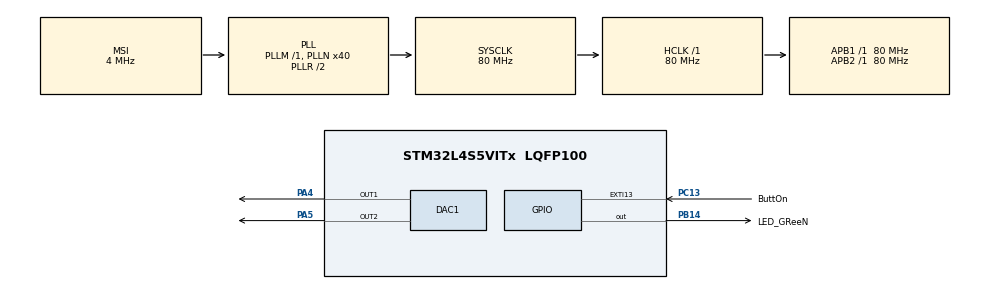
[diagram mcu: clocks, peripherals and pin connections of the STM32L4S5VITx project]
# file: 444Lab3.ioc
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DAC1.DAC_Channel-DAC_OUT2=DAC_CHANNEL_2
DAC1.DAC_Trigger-DAC_OUT1=DAC_TRIGGER_T2_TRGO
Dma.DAC1_CH1.0.Direction=DMA_MEMORY_TO_PERIPH
Dma.DAC1_CH1.0.EventEnable=DISABLE
Dma.DAC1_CH1.0.Instance=DMA1_Channel1
Dma.DAC1_CH1.0.MemDataAlignment=DMA_MDATAALIGN_HALFWORD
Dma.DAC1_CH1.0.MemInc=DMA_MINC_ENABLE
Dma.DAC1_CH1.0.Mode=DMA_CIRCULAR
Dma.DAC1_CH1.0.PeriphDataAlignment=DMA_PDATAALIGN_HALFWORD
Dma.DAC1_CH1.0.PeriphInc=DMA_PINC_DISABLE
Dma.DAC1_CH1.0.Polarity=HAL_DMAMUX_REQUEST_GEN_RISING
Dma.DAC1_CH1.0.Priority=DMA_PRIORITY_LOW
Dma.DAC1_CH1.0.RequestNumber=1
Dma.DAC1_CH1.0.SignalID=NONE
Dma.DAC1_CH1.0.SyncEnable=DISABLE
Dma.DAC1_CH1.0.SyncPolarity=HAL_DMAMUX_SYNC_NO_EVENT
Dma.DAC1_CH1.0.SyncRequestNumber=1
Dma.DAC1_CH1.0.SyncSignalID=NONE
Dma.Request0=DAC1_CH1
Mcu.Family=STM32L4
Mcu.Name=STM32L4S5VITx
Mcu.Package=LQFP100
NVIC.DMA1_Channel1_IRQn=true\:0\:0\:false\:false\:true\:false\:true
NVIC.EXTI15_10_IRQn=true\:0\:0\:false\:true\:true\:2\:true\:true
NVIC.PriorityGroup=NVIC_PRIORITYGROUP_4
NVIC.TIM2_IRQn=true\:0\:0\:false\:true\:true\:1\:true\:true
PA13\ (JTMS/SWDIO).Mode=Serial_Wire
PA13\ (JTMS/SWDIO).Signal=SYS_JTMS-SWDIO
PA14\ (JTCK/SWCLK).Mode=Serial_Wire
PA14\ (JTCK/SWCLK).Signal=SYS_JTCK-SWCLK
PA4.Signal=COMP_DAC11_group
PA5.Signal=COMP_DAC12_group
PB14.GPIO_Label=LED_GReeN
PB14.Signal=GPIO_Output
PC13.GPIO_Label=ButtOn
PC13.Signal=GPXTI13
ProjectManager.HeapSize=0x200
ProjectManager.StackSize=0x400
ProjectManager.TargetToolchain=STM32CubeIDE
RCC.ADCFreq_Value=16000000
RCC.AHBFreq_Value=80000000
RCC.APB1Freq_Value=80000000
RCC.APB1TimFreq_Value=80000000
RCC.APB2Freq_Value=80000000
RCC.APB2TimFreq_Value=80000000
RCC.CortexFreq_Value=80000000
RCC.HCLKFreq_Value=80000000
RCC.HSE_VALUE=8000000
RCC.HSI48_VALUE=48000000
RCC.HSI_VALUE=16000000
RCC.LSE_VALUE=32768
RCC.MSI_VALUE=4000000
RCC.PLLN=40
RCC.SYSCLKFreq_VALUE=80000000
RCC.SYSCLKSource=RCC_SYSCLKSOURCE_PLLCLK
RCC.USBFreq_Value=16000000
RCC.VCOOutputFreq_Value=160000000
SH.COMP_DAC11_group.0=DAC1_OUT1,DAC_OUT1
SH.COMP_DAC12_group.0=DAC1_OUT2,DAC_OUT2
TIM2.ClockDivision=TIM_CLOCKDIVISION_DIV1
TIM2.Period=1814
TIM2.TIM_MasterOutputTrigger=TIM_TRGO_UPDATE
VP_TIM2_VS_ClockSourceINT.Mode=Internal
board=custom

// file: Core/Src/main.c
/* USER CODE BEGIN Header */
/**
  ******************************************************************************
  * @file           : main.c
  * @brief          : Main program body
  ******************************************************************************
  * @attention
  *
  * <h2><center>&copy; Copyright (c) 2021 STMicroelectronics.
  * All rights reserved.</center></h2>
  *
  * This software component is licensed by ST under BSD 3-Clause license,
  * the "License"; You may not use this file except in compliance with the
  * License. You may obtain a copy of the License at:
  *                        opensource.org/licenses/BSD-3-Clause
  *
  ******************************************************************************
  */
/* USER CODE END Header */
#include "main.h"

/* USER CODE BEGIN Includes */
#define ARM_MATH_CM4
#define pi 3.14159265358979323846
#include "arm_math.h"

int signalSelection = 0;
int partNum = 3; //Chooses if you want to see part 1, 2, or 3

#define C6size 42 //Should be 43
#define E6size 32 //Should be 33
#define G6size 28 //Should be 28

uint16_t C6tone[C6size];
uint16_t E6tone[E6size];
uint16_t G6tone[G6size];

uint16_t buffer[672];
int bufferFlag = 0;

int C6index = 0;
int E6index = 0;
int G6index = 0;

uint16_t C6signal;
uint16_t E6signal;
uint16_t G6signal;

/* USER CODE END Includes */

DAC_HandleTypeDef hdac1;
DMA_HandleTypeDef hdma_dac1_ch1;

TIM_HandleTypeDef htim2;

/* USER CODE BEGIN PV */
DAC_ChannelConfTypeDef sConfigGlobal; //For self-calibration

/* USER CODE END PV */

void SystemClock_Config(void);
static void MX_GPIO_Init(void);
static void MX_DMA_Init(void);
static void MX_DAC1_Init(void);
static void MX_TIM2_Init(void);
static void MX_NVIC_Init(void);

/* USER CODE BEGIN 0 */

/*
 *
 * DEFINE INTERRUPT HANDLERS
 *
 */

//GPIO Button
void HAL_GPIO_EXTI_Callback(uint16_t GPIO_Pin) {
	if (GPIO_Pin == ButtOn_Pin) {

		HAL_GPIO_TogglePin(LED_GReeN_GPIO_Port, LED_GReeN_Pin);

		signalSelection = (signalSelection + 1)%3;

		bufferFlag = 1;
	}
}

//Timer 2
void HAL_TIM_PeriodElapsedCallback(TIM_HandleTypeDef *htim) {
	if (htim == &htim2 && partNum == 2) {

		//Increment everything
		C6index = (C6index + 1)%C6size;
		E6index = (E6index + 1)%E6size;
		G6index = (G6index + 1)%G6size;

		C6signal = C6tone[C6index];
		E6signal = E6tone[E6index];
		G6signal = G6tone[G6index];

		switch (signalSelection) {

			case 0:
				HAL_DAC_SetValue(&hdac1, DAC_CHANNEL_1, DAC_ALIGN_12B_R, C6tone[C6index]);
				break;
			case 1:
				HAL_DAC_SetValue(&hdac1, DAC_CHANNEL_1, DAC_ALIGN_12B_R, E6tone[E6index]);
				break;
			case 2:
				HAL_DAC_SetValue(&hdac1, DAC_CHANNEL_1, DAC_ALIGN_12B_R, G6tone[G6index]);
				break;
		}
	}
}

//DMA Complete
void HAL_DAC_ConvCpltCallbackCh1(DAC_HandleTypeDef *hdac) {
	if (bufferFlag) {

		switch (signalSelection) {

			case 0:
				for (int i = 0; i < 672; i++) {
					buffer[i] = C6tone[i%C6size];
				}
				break;
			case 1:
				for (int i = 0; i < 672; i++) {
					buffer[i] = E6tone[i%E6size];
				}
				break;
			case 2:
				for (int i = 0; i < 672; i++) {
					buffer[i] = G6tone[i%G6size];
				}
				break;

		}

		bufferFlag = 0;
	}

}

/* USER CODE END 0 */

int main(void)
{

  /* MCU Configuration--------------------------------------------------------*/

  /* Reset of all peripherals, Initializes the Flash interface and the Systick. */
  HAL_Init();

  /* Configure the system clock */
  SystemClock_Config();

  /* Initialize all configured peripherals */
  MX_GPIO_Init();
  MX_DMA_Init();
  MX_DAC1_Init();
  MX_TIM2_Init();

  /* Initialize interrupts */
  MX_NVIC_Init();
  /* USER CODE BEGIN 2 */

  /*
   *
   * CHANNEL CALIBRATION
   *
   */

  HAL_DACEx_SelfCalibrate(&hdac1, &sConfigGlobal, DAC_CHANNEL_1);
  HAL_DACEx_SelfCalibrate(&hdac1, &sConfigGlobal, DAC_CHANNEL_2);

  /*
   *
   * INITIALIZATION
   *
   */

  //Manual signals
  uint32_t saw = 0; //Starting position for saw signal
  uint32_t triangle = 0; //Starting position for triangle signal
  int32_t incrementSaw = 7; //For the saw and triangle signals to have same frequency, use 7 and 15 as increments and only go up to a maximum of 105
  int32_t incrementTriangle = 15;
  uint32_t sawSignal; //Scaled signal to send to DAC
  uint32_t triangleSignal; //Scaled signal to send to DAC
  float32_t sineSignal = 0; //Scaled signal to send to DAC
  int sineIndex = 0; //Keep track/increment the index through the sineValues array to generate the signal
  int channel = 2; // Selects DAC channel

  //Timer interrupts/DAC
  if (partNum == 2) HAL_DAC_Start(&hdac1, DAC_CHANNEL_1);
  if (partNum == 1) HAL_DAC_Start(&hdac1, DAC_CHANNEL_2);
  if (partNum == 2 || partNum == 3) HAL_TIM_Base_Start_IT(&htim2); //Start the timer in interrupt mode

  /*
   *
   * SINE WAVE ARRAY GENERATION
   *
   * Calculate the x values inputted into the sine wave generation
   * This prevents choppy sine waves due to long float calculation speeds
   *
   */

  float32_t sineValues[15];
  for (int i = 0; i < 15; i++) {
	  sineValues[i] = (arm_sin_f32(2*pi*i/15)+1)*(0xFFF/2);
  }

  /*
   *
   * 3 FREQUENCY SIGNAL GENERATION (C6, E6, G6)
   *
   */

  for (int i = 0; i < C6size; i++) {
	  C6tone[i] = (uint16_t)(2*(arm_sin_f32(i*2*pi/C6size) + 1)*(0xFFF/2)/3);
  }

  for (int i = 0; i < E6size; i++) {
	  E6tone[i] = (uint16_t)(2*(arm_sin_f32(i*2*pi/E6size) + 1)*(0xFFF/2)/3);
  }

  for (int i = 0; i < G6size; i++) {
	  G6tone[i] = (uint16_t)(2*(arm_sin_f32(i*2*pi/G6size) + 1)*(0xFFF/2)/3);
  }

  /*
   *
   * INITIALIZE BUFFER AND START DMA DAC PROCESS
   *
   */

  for (int i = 0; i < 672; i++) {
	  buffer[i] = C6tone[i%C6size];
  }

  if (partNum == 3) HAL_DAC_Start_DMA(&hdac1, DAC_CHANNEL_1, (uint32_t*)buffer, (uint32_t)672, DAC_ALIGN_12B_R); //672 = LCM(42, 32, 28)

  /* USER CODE END 2 */

  /* Infinite loop */
  /* USER CODE BEGIN WHILE */
  while (1)
  {
	  if (partNum == 1) {

		  /*
		   *
		   * MANUAL SIGNAL GENERATION
		   *
		   */

		  //Generate saw signal
		  saw += incrementSaw;
		  incrementSaw = 7;

		  if (saw >= 105) {
			  incrementSaw = -105;
		  }

		  //Generate triangle signal
		  triangle += incrementTriangle;

		  if (triangle <= 0 || triangle >= 105) {
			  incrementTriangle *= -1;
		  }

		  //Increment the sine signal -> circular
		  sineIndex = (sineIndex + 1)%15;

		  //Scaling the signal to generate sound
		  sawSignal = (float)saw*4095/105;
		  triangleSignal = (float)triangle*4095/105;
		  sineSignal = sineValues[sineIndex];

		  /*
		   *
		   * SENDING CHOSEN SIGNAL TO DAC
		   *
		   */

		  if (channel == 1) {
			  HAL_DAC_SetValue(&hdac1, DAC_CHANNEL_1, DAC_ALIGN_12B_R, (uint32_t)sawSignal); //Useless because we dont use channel 1 anymore for part 1
		  } else if (channel == 2) {
			  HAL_DAC_SetValue(&hdac1, DAC_CHANNEL_2, DAC_ALIGN_12B_R, (uint32_t)sawSignal);
		  }

		  HAL_Delay(1);
	  }

    /* USER CODE END WHILE */

  }
}

void SystemClock_Config(void)
{
  RCC_OscInitTypeDef RCC_OscInitStruct = {0};
  RCC_ClkInitTypeDef RCC_ClkInitStruct = {0};

  /** Configure the main internal regulator output voltage
  */
  if (HAL_PWREx_ControlVoltageScaling(PWR_REGULATOR_VOLTAGE_SCALE1) != HAL_OK)
  {
    Error_Handler();
  }
  /** Initializes the RCC Oscillators according to the specified parameters
  * in the RCC_OscInitTypeDef structure.
  */
  RCC_OscInitStruct.OscillatorType = RCC_OSCILLATORTYPE_MSI;
  RCC_OscInitStruct.MSIState = RCC_MSI_ON;
  RCC_OscInitStruct.MSICalibrationValue = 0;
  RCC_OscInitStruct.MSIClockRange = RCC_MSIRANGE_6;
  RCC_OscInitStruct.PLL.PLLState = RCC_PLL_ON;
  RCC_OscInitStruct.PLL.PLLSource = RCC_PLLSOURCE_MSI;
  RCC_OscInitStruct.PLL.PLLM = 1;
  RCC_OscInitStruct.PLL.PLLN = 40;
  RCC_OscInitStruct.PLL.PLLP = RCC_PLLP_DIV2;
  RCC_OscInitStruct.PLL.PLLQ = RCC_PLLQ_DIV2;
  RCC_OscInitStruct.PLL.PLLR = RCC_PLLR_DIV2;
  if (HAL_RCC_OscConfig(&RCC_OscInitStruct) != HAL_OK)
  {
    Error_Handler();
  }
  /** Initializes the CPU, AHB and APB buses clocks
  */
  RCC_ClkInitStruct.ClockType = RCC_CLOCKTYPE_HCLK|RCC_CLOCKTYPE_SYSCLK
                              |RCC_CLOCKTYPE_PCLK1|RCC_CLOCKTYPE_PCLK2;
  RCC_ClkInitStruct.SYSCLKSource = RCC_SYSCLKSOURCE_PLLCLK;
  RCC_ClkInitStruct.AHBCLKDivider = RCC_SYSCLK_DIV1;
  RCC_ClkInitStruct.APB1CLKDivider = RCC_HCLK_DIV1;
  RCC_ClkInitStruct.APB2CLKDivider = RCC_HCLK_DIV1;

  if (HAL_RCC_ClockConfig(&RCC_ClkInitStruct, FLASH_LATENCY_3) != HAL_OK)
  {
    Error_Handler();
  }
}

/**
  * @brief NVIC Configuration.
  * @retval None
  */
static void MX_NVIC_Init(void)
{
  /* TIM2_IRQn interrupt configuration */
  HAL_NVIC_SetPriority(TIM2_IRQn, 0, 0);
  HAL_NVIC_EnableIRQ(TIM2_IRQn);
  /* EXTI15_10_IRQn interrupt configuration */
  HAL_NVIC_SetPriority(EXTI15_10_IRQn, 0, 0);
  HAL_NVIC_EnableIRQ(EXTI15_10_IRQn);
}

static void MX_DAC1_Init(void)
{

  DAC_ChannelConfTypeDef sConfig = {0};

  /** DAC Initialization
  */
  hdac1.Instance = DAC1;
  if (HAL_DAC_Init(&hdac1) != HAL_OK)
  {
    Error_Handler();
  }
  /** DAC channel OUT1 config
  */
  sConfig.DAC_SampleAndHold = DAC_SAMPLEANDHOLD_DISABLE;
  sConfig.DAC_Trigger = DAC_TRIGGER_T2_TRGO;
  sConfig.DAC_HighFrequency = DAC_HIGH_FREQUENCY_INTERFACE_MODE_DISABLE;
  sConfig.DAC_OutputBuffer = DAC_OUTPUTBUFFER_ENABLE;
  sConfig.DAC_ConnectOnChipPeripheral = DAC_CHIPCONNECT_DISABLE;
  sConfig.DAC_UserTrimming = DAC_TRIMMING_FACTORY;
  if (HAL_DAC_ConfigChannel(&hdac1, &sConfig, DAC_CHANNEL_1) != HAL_OK)
  {
    Error_Handler();
  }
  /** DAC channel OUT2 config
  */
  sConfig.DAC_Trigger = DAC_TRIGGER_NONE;
  sConfig.DAC_ConnectOnChipPeripheral = DAC_CHIPCONNECT_DISABLE;
  if (HAL_DAC_ConfigChannel(&hdac1, &sConfig, DAC_CHANNEL_2) != HAL_OK)
  {
    Error_Handler();
  }
  /* USER CODE BEGIN DAC1_Init 2 */
  sConfigGlobal = sConfig;
  /* USER CODE END DAC1_Init 2 */

}

static void MX_TIM2_Init(void)
{

  TIM_ClockConfigTypeDef sClockSourceConfig = {0};
  TIM_MasterConfigTypeDef sMasterConfig = {0};

  htim2.Instance = TIM2;
  htim2.Init.Prescaler = 0;
  htim2.Init.CounterMode = TIM_COUNTERMODE_UP;
  htim2.Init.Period = 1814;
  htim2.Init.ClockDivision = TIM_CLOCKDIVISION_DIV1;
  htim2.Init.AutoReloadPreload = TIM_AUTORELOAD_PRELOAD_DISABLE;
  if (HAL_TIM_Base_Init(&htim2) != HAL_OK)
  {
    Error_Handler();
  }
  sClockSourceConfig.ClockSource = TIM_CLOCKSOURCE_INTERNAL;
  if (HAL_TIM_ConfigClockSource(&htim2, &sClockSourceConfig) != HAL_OK)
  {
    Error_Handler();
  }
  sMasterConfig.MasterOutputTrigger = TIM_TRGO_UPDATE;
  sMasterConfig.MasterSlaveMode = TIM_MASTERSLAVEMODE_DISABLE;
  if (HAL_TIMEx_MasterConfigSynchronization(&htim2, &sMasterConfig) != HAL_OK)
  {
    Error_Handler();
  }

}

static void MX_DMA_Init(void)
{

  /* DMA controller clock enable */
  __HAL_RCC_DMAMUX1_CLK_ENABLE();
  __HAL_RCC_DMA1_CLK_ENABLE();

  /* DMA interrupt init */
  /* DMA1_Channel1_IRQn interrupt configuration */
  HAL_NVIC_SetPriority(DMA1_Channel1_IRQn, 0, 0);
  HAL_NVIC_EnableIRQ(DMA1_Channel1_IRQn);

}

static void MX_GPIO_Init(void)
{
  GPIO_InitTypeDef GPIO_InitStruct = {0};

  /* GPIO Ports Clock Enable */
  __HAL_RCC_GPIOC_CLK_ENABLE();
  __HAL_RCC_GPIOA_CLK_ENABLE();
  __HAL_RCC_GPIOB_CLK_ENABLE();

  /*Configure GPIO pin Output Level */
  HAL_GPIO_WritePin(LED_GReeN_GPIO_Port, LED_GReeN_Pin, GPIO_PIN_RESET);

  /*Configure GPIO pin : ButtOn_Pin */
  GPIO_InitStruct.Pin = ButtOn_Pin;
  GPIO_InitStruct.Mode = GPIO_MODE_IT_RISING;
  GPIO_InitStruct.Pull = GPIO_NOPULL;
  HAL_GPIO_Init(ButtOn_GPIO_Port, &GPIO_InitStruct);

  /*Configure GPIO pin : LED_GReeN_Pin */
  GPIO_InitStruct.Pin = LED_GReeN_Pin;
  GPIO_InitStruct.Mode = GPIO_MODE_OUTPUT_PP;
  GPIO_InitStruct.Pull = GPIO_NOPULL;
  GPIO_InitStruct.Speed = GPIO_SPEED_FREQ_LOW;
  HAL_GPIO_Init(LED_GReeN_GPIO_Port, &GPIO_InitStruct);

}

void Error_Handler(void)
{
  __disable_irq();
  while (1)
  {
  }
}

/************************ (C) COPYRIGHT STMicroelectronics *****END OF FILE****/
